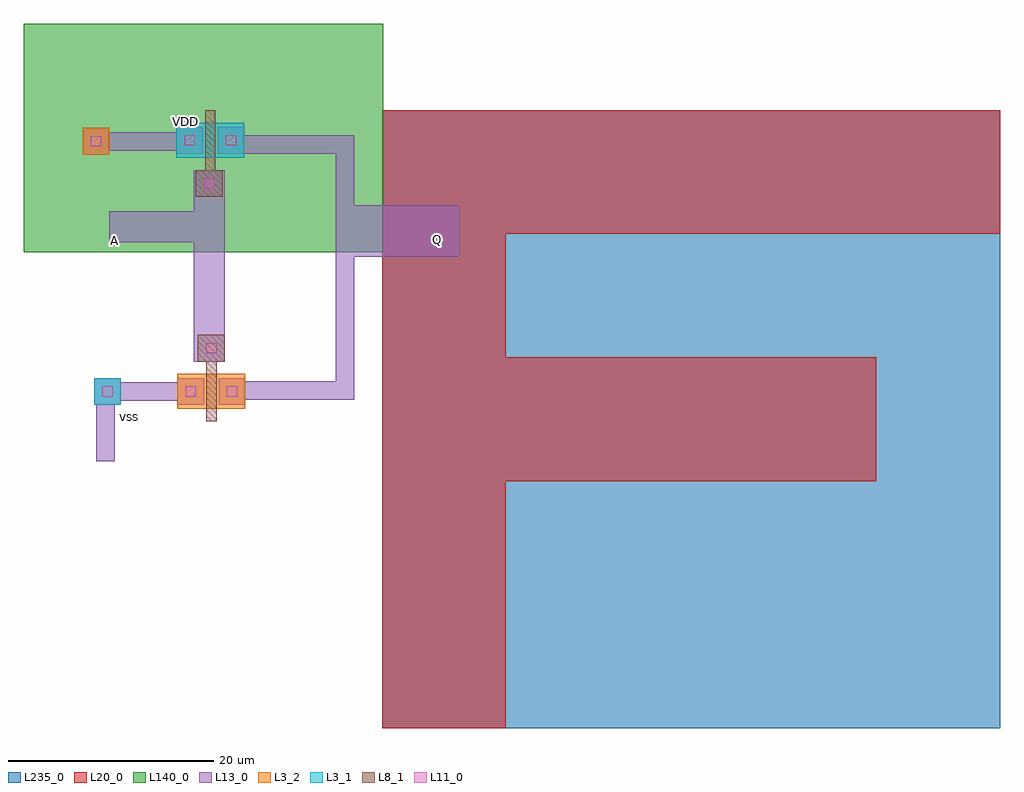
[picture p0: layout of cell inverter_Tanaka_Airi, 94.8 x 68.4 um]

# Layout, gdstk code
import gdstk
lib = gdstk.Library(unit=1e-6, precision=1e-07)
def R(c, l, rs):  # rectangles x0, y0, x1, y1
    for r in rs: c.add(gdstk.rectangle(r[:2], r[2:], *l))
def P(c, l, *ps):  # polygons
    for p in ps: c.add(gdstk.Polygon(p, *l))
L3_1 = (3, 1)
L3_2 = (3, 2)
L8_1 = (8, 1)
L11_0 = (11, 0)
L13_0 = (13, 0)
L20_0 = (20, 0)
L140_0 = (140, 0)
L235_0 = (235, 0)

fet_n = lib.new_cell('fet_n')
R(fet_n, L3_2, [(-3.3,-1.7,3.3,1.7)])
R(fet_n, L11_0, [(-2.5,-0.5,-1.5,0.5), (1.5,-0.5,2.5,0.5)])
R(fet_n, L13_0, [(-3.3,-1.3,-0.7,1.3), (0.7,-1.3,3.3,1.3)])
fet_n.add(gdstk.FlexPath([(0,-2.9),(0,2.9)], 1, ends="flush", simple_path=True, layer=8, datatype=1))  # L8_1

fet_p = lib.new_cell('fet_p')
R(fet_p, L3_1, [(-3.3,-1.7,3.3,1.7)])
R(fet_p, L11_0, [(-2.5,-0.5,-1.5,0.5), (1.5,-0.5,2.5,0.5)])
R(fet_p, L13_0, [(-3.3,-1.3,-0.7,1.3), (0.7,-1.3,3.3,1.3)])
fet_p.add(gdstk.FlexPath([(0,-2.9),(0,2.9)], 1, ends="flush", simple_path=True, layer=8, datatype=1))  # L8_1

cont_g = lib.new_cell('cont_g')
R(cont_g, L8_1, [(-1.3,-1.3,1.3,1.3)])
R(cont_g, L11_0, [(-0.5,-0.5,0.5,0.5)])
R(cont_g, L13_0, [(-1.3,-1.3,1.3,1.3)])

cont_n = lib.new_cell('cont_n')
R(cont_n, L3_2, [(-1.3,-1.3,1.3,1.3)])
R(cont_n, L11_0, [(-0.5,-0.5,0.5,0.5)])
R(cont_n, L13_0, [(-1.3,-1.3,1.3,1.3)])

cont_p = lib.new_cell('cont_p')
R(cont_p, L3_1, [(-1.3,-1.3,1.3,1.3)])
R(cont_p, L11_0, [(-0.5,-0.5,0.5,0.5)])
R(cont_p, L13_0, [(-1.3,-1.3,1.3,1.3)])

c_f = lib.new_cell('F')
P(c_f, L20_0, [(0,0),(0,30),(30,30),(30,24),(6,24),(6,18),(24,18),(24,12),(6,12),(6,0)])
R(c_f, L235_0, [(0,0,30,30)])

inverter_tanaka_airi = lib.new_cell('inverter_Tanaka_Airi')
R(inverter_tanaka_airi, L140_0, [(-219.6,165,-184.7,187.2)])
inverter_tanaka_airi.add(gdstk.FlexPath([(-188.3,167.1),(-177.3,167.1)], 5, ends="flush", simple_path=True, layer=13, datatype=0))  # L13_0
inverter_tanaka_airi.add(gdstk.FlexPath([(-201.7,167.5),(-211.3,167.5)], 3, ends="flush", simple_path=True, layer=13, datatype=0))  # L13_0
inverter_tanaka_airi.add(gdstk.FlexPath([(-201.6,173),(-201.6,154.4)], 3, ends="flush", simple_path=True, layer=13, datatype=0))  # L13_0
inverter_tanaka_airi.add(gdstk.FlexPath([(-202.9,151.5),(-212.3,151.5)], 1.8, ends="flush", simple_path=True, layer=13, datatype=0))  # L13_0
inverter_tanaka_airi.add(gdstk.FlexPath([(-211.7,151.8),(-211.7,144.7)], 1.8, ends="flush", simple_path=True, layer=13, datatype=0))  # L13_0
inverter_tanaka_airi.add(gdstk.FlexPath([(-200,175.5),(-188.4,175.5),(-188.4,151.6),(-200,151.6)], 1.8, ends="flush", simple_path=True, layer=13, datatype=0))  # L13_0
inverter_tanaka_airi.add(gdstk.FlexPath([(-212.8,175.8),(-202.7,175.8)], 1.8, ends="flush", simple_path=True, layer=13, datatype=0))  # L13_0
inverter_tanaka_airi.add(gdstk.Reference(fet_n, (-201.4,151.5)))
inverter_tanaka_airi.add(gdstk.Reference(fet_p, (-201.5,175.9)))
inverter_tanaka_airi.add(gdstk.Reference(cont_g, (-201.6,171.7)))
inverter_tanaka_airi.add(gdstk.Reference(cont_g, (-201.4,155.7)))
inverter_tanaka_airi.add(gdstk.Reference(cont_n, (-212.6,175.8)))
inverter_tanaka_airi.add(gdstk.Reference(cont_p, (-211.5,151.5)))
inverter_tanaka_airi.add(gdstk.Reference(c_f, (-184.8,118.8), magnification=2))
inverter_tanaka_airi.add(gdstk.Label('vss', (-209.4,149.1), layer=13, texttype=0))
inverter_tanaka_airi.add(gdstk.Label('A', (-210.8,166.2), layer=13, texttype=0))
inverter_tanaka_airi.add(gdstk.Label('Q', (-179.4,166.3), layer=13, texttype=0))
inverter_tanaka_airi.add(gdstk.Label('VDD', (-203.9,177.7), layer=13, texttype=0))

lib.write_gds('inverter_Tanaka_Airi.gds')
